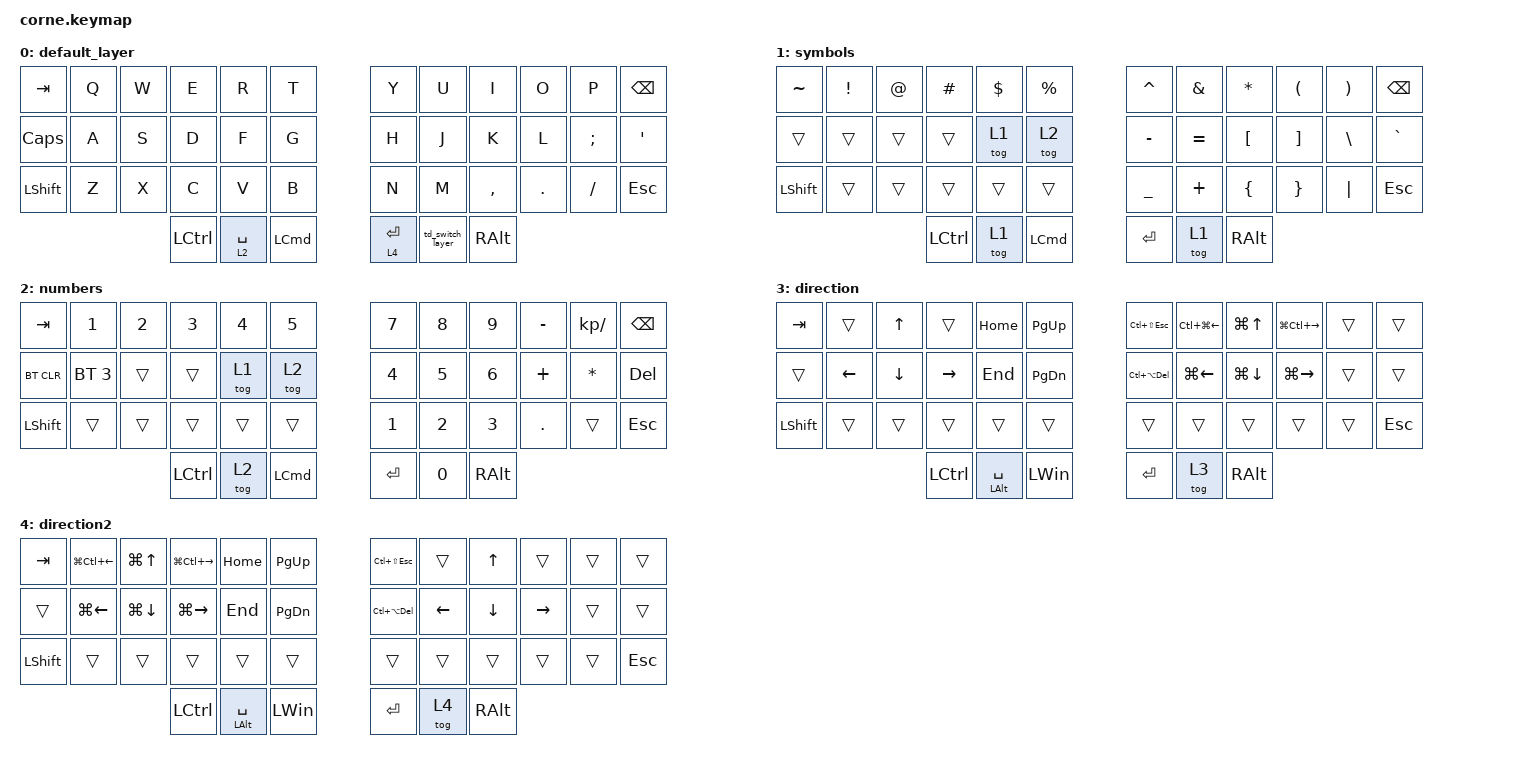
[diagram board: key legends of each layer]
/*
 * Copyright (c) 2020 The ZMK Contributors
 *
 * SPDX-License-Identifier: MIT
 */

#include <behaviors.dtsi>
#include <dt-bindings/zmk/bt.h>
#include <dt-bindings/zmk/keys.h>

/ {
    combos {
        compatible = "zmk,combos";

        combo_del {
            bindings = <&kp DEL>;
            key-positions = <11 24>;
        };
    };

    behaviors {
        td_switch_layer: td_switch_layer {
            compatible = "zmk,behavior-tap-dance";
            label = "TD_SWITCH_LAYER";
            #binding-cells = <0>;
            bindings = <&sl 1>, <&tog 2>, <&tog 3>;

            tapping-term-ms = <300>;
        };
    };

    macros {
    };

    keymap {
        compatible = "zmk,keymap";

        default_layer {
            // -----------------------------------------------------------------------------------------
            // |  TAB |  Q  |  W  |  E  |  R  |  T  |   |  Y  |  U   |  I  |  O  |  P  | BKSP |
            // | CTRL |  A  |  S  |  D  |  F  |  G  |   |  H  |  J   |  K  |  L  |  ;  |  '   |
            // | SHFT |  Z  |  X  |  C  |  V  |  B  |   |  N  |  M   |  ,  |  .  |  /  | ESC  |
            //                    | GUI | LWR | SPC |   | ENT | RSE  | ALT |

            bindings = <
&kp TAB         &kp Q  &kp W  &kp E             &kp R        &kp T               &kp Y      &kp U             &kp I      &kp O    &kp P     &kp BACKSPACE
&kp CAPSLOCK    &kp A  &kp S  &kp D             &kp F        &kp G               &kp H      &kp J             &kp K      &kp L    &kp SEMI  &kp SQT
&kp LEFT_SHIFT  &kp Z  &kp X  &kp C             &kp V        &kp B               &kp N      &kp M             &kp COMMA  &kp DOT  &kp FSLH  &kp ESC
                              &kp LEFT_CONTROL  &lt 2 SPACE  &kp LEFT_COMMAND    &lt 4 RET  &td_switch_layer  &kp RALT
            >;
        };

        symbols {
            // -----------------------------------------------------------------------------------------
            // |  TAB |  !  |  @  |  #  |  $  |  %  |   |  ^  |  &  |  *  |  (  |  )  | BKSP |
            // | CTRL |     |     |     |     |     |   |  -  |  =  |  [  |  ]  |  \  |  `   |
            // | SHFT |     |     |     |     |     |   |  _  |  +  |  {  |  }  | "|" |  ~   |
            //                    | GUI |     | SPC |   | ENT |     | ALT |

            bindings = <
&kp TILDE       &kp EXCLAMATION  &kp AT_SIGN  &kp HASH   &kp DOLLAR  &kp PERCENT         &kp CARET  &kp AMPERSAND  &kp STAR  &kp LEFT_PARENTHESIS  &kp RIGHT_PARENTHESIS  &kp BACKSPACE
&trans          &trans           &trans       &trans     &tog 1      &tog 2              &kp MINUS  &kp EQUAL      &kp LBKT  &kp RBKT              &kp BSLH               &kp GRAVE
&kp LEFT_SHIFT  &trans           &trans       &trans     &trans      &trans              &kp UNDER  &kp PLUS       &kp LBRC  &kp RBRC              &kp PIPE               &kp ESCAPE
                                              &kp LCTRL  &tog 1      &kp LEFT_COMMAND    &kp RET    &tog 1         &kp RALT
            >;
        };

        numbers {
            // -----------------------------------------------------------------------------------------
            // |  TAB |  1  |  2  |  3  |  4  |  5  |   |  6  |  7  |  8  |  9  |  0  | BKSP |
            // | BTCLR| BT1 | BT2 | BT3 | BT4 | BT5 |   | LFT | DWN |  UP | RGT |     |      |
            // | SHFT |     |     |     |     |     |   |     |     |     |     |     |      |
            //                    | GUI |     | SPC |   | ENT |     | ALT |

            bindings = <
&kp TAB     &kp N1        &kp N2  &kp N3            &kp N4  &kp N5              &kp N7   &kp N8  &kp N9         &kp MINUS  &kp KP_DIVIDE  &kp BACKSPACE
&bt BT_CLR  &bt BT_SEL 3  &trans  &trans            &tog 1  &tog 2              &kp N4   &kp N5  &kp N6         &kp PLUS   &kp STAR       &kp DELETE
&kp LSHFT   &trans        &trans  &trans            &trans  &trans              &kp N1   &kp N2  &kp N3         &kp DOT    &trans         &kp ESCAPE
                                  &kp LEFT_CONTROL  &tog 2  &kp LEFT_COMMAND    &kp RET  &kp N0  &kp RIGHT_ALT
            >;
        };

        direction {
            bindings = <
&kp TAB         &trans    &kp UP    &trans     &kp HOME            &kp PAGE_UP      &kp LC(LS(ESCAPE))  &kp LC(LG(LEFT))  &kp LG(UP_ARROW)  &kp LG(LC(RIGHT))  &trans  &trans
&trans          &kp LEFT  &kp DOWN  &kp RIGHT  &kp END             &kp PAGE_DOWN    &kp LC(LA(DELETE))  &kp LG(LEFT)      &kp LG(DOWN)      &kp LG(RIGHT)      &trans  &trans
&kp LEFT_SHIFT  &trans    &trans    &trans     &trans              &trans           &trans              &trans            &trans            &trans             &trans  &kp ESCAPE
                                    &kp LCTRL  &mt LEFT_ALT SPACE  &kp LEFT_WIN     &kp RETURN          &tog 3            &kp RIGHT_ALT
            >;
        };

        direction2 {
            bindings = <
&kp TAB         &kp LG(LC(LEFT))  &kp LG(UP)    &kp LG(LC(RIGHT))  &kp HOME            &kp PAGE_UP      &kp LC(LS(ESCAPE))  &trans    &kp UP_ARROW   &trans     &trans  &trans
&trans          &kp LG(LEFT)      &kp LG(DOWN)  &kp LG(RIGHT)      &kp END             &kp PAGE_DOWN    &kp LC(LA(DELETE))  &kp LEFT  &kp DOWN       &kp RIGHT  &trans  &trans
&kp LEFT_SHIFT  &trans            &trans        &trans             &trans              &trans           &trans              &trans    &trans         &trans     &trans  &kp ESCAPE
                                                &kp LCTRL          &mt LEFT_ALT SPACE  &kp LEFT_WIN     &kp ENTER           &tog 4    &kp RIGHT_ALT
            >;
        };
    };
};
